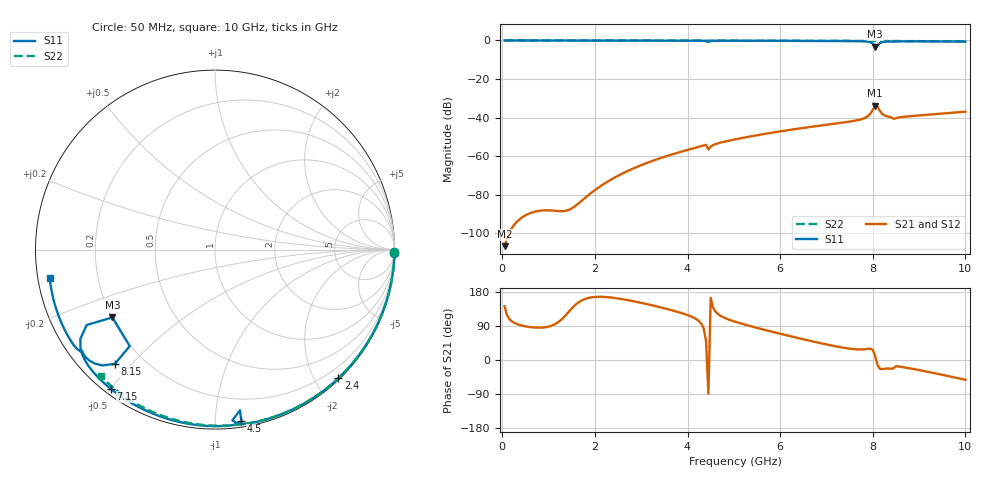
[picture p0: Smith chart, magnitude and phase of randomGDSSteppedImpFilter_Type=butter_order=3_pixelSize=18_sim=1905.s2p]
! freq	dB(S11)	phase(S11)	dB(S12)	phase(S12)
!  dB(S21)	phase(S21)	dB(S22)	phase(S22)
!S-par simulation data
#  GHz  S  DB  R 50
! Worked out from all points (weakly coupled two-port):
!   200 points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, 50 MHz to 10 GHz, reference 50 ohm
!   highest |S21| = -33.87 dB at 8.05 GHz (marker M1); lowest = -106.7 dB at 50 MHz (marker M2)
!   lowest |S11| = -3.3 dB at 8.05 GHz (marker M3), VSWR 5.35, Z = 10.2 - j14.5 ohm
!   |S11| at or under -10 dB: nowhere
!   |S22| runs from -0.4 to 0.0 dB; largest |S21 - S12| = 0
!   S11 on the Smith chart (normalised r, x): 50 MHz: open; 2.4 GHz: 0.02, -2.34; 4.5 GHz: 0.04, -1.16; 7.15 GHz: 0.02, -0.50; 8.15 GHz: 0.10, -0.45; 10 GHz: 0.03, -0.09
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0.05  -0.00 -1.0  -106.66 141.9  -106.66 141.9  -0.00 -0.8
1.75  -0.04 -34.0  -82.39 159.2  -82.39 159.2  -0.03 -26.4
1.9  -0.05 -36.8  -79.41 164.8  -79.41 164.8  -0.04 -28.6
2.4  -0.06 -46.2  -71.42 164.1  -71.42 164.1  -0.05 -35.9
3.4  -0.09 -64.4  -61.13 139.5  -61.13 139.5  -0.07 -50.2
4.35  -0.19 -82.4  -54.36 82.8  -54.36 82.8  -0.09 -63.3
4.4  -0.38 -84.2  -54.12 50.1  -54.12 50.1  -0.09 -63.9
4.45  -0.86 -81.2  -56.51 -89.1  -56.51 -89.1  -0.09 -64.6
4.5  -0.29 -81.3  -55.10 163.8  -55.10 163.8  -0.09 -65.3
5.05  -0.14 -92.3  -51.19 100.2  -51.19 100.2  -0.11 -72.6
6.7  -0.24 -119.4  -44.69 49.1  -44.69 49.1  -0.18 -93.5
7.15  -0.27 -126.9  -43.24 37.3  -43.24 37.3  -0.21 -99.0
7.8  -0.45 -140.0  -40.48 28.1  -40.48 28.1  -0.25 -106.7
7.95  -0.92 -146.5  -37.91 29.9  -37.91 29.9  -0.26 -108.5
8  -1.63 -149.6  -35.98 26.5  -35.98 26.5  -0.26 -109.0
8.05  -3.29 -146.5  -33.87 11.4  -33.87 11.4  -0.26 -109.6
8.1  -2.88 -131.5  -34.27 -12.4  -34.27 -12.4  -0.27 -110.2
8.15  -1.46 -131.2  -36.40 -23.0  -36.40 -23.0  -0.27 -110.8
8.35  -0.56 -140.4  -39.57 -22.4  -39.57 -22.4  -0.29 -113.1
8.45  -0.62 -142.4  -40.63 -21.4  -40.63 -21.4  -0.30 -114.3
9.05  -0.46 -153.8  -38.78 -27.8  -38.78 -27.8  -0.35 -121.2
10  -0.59 -170.2  -36.93 -52.2  -36.93 -52.2  -0.45 -132.0
